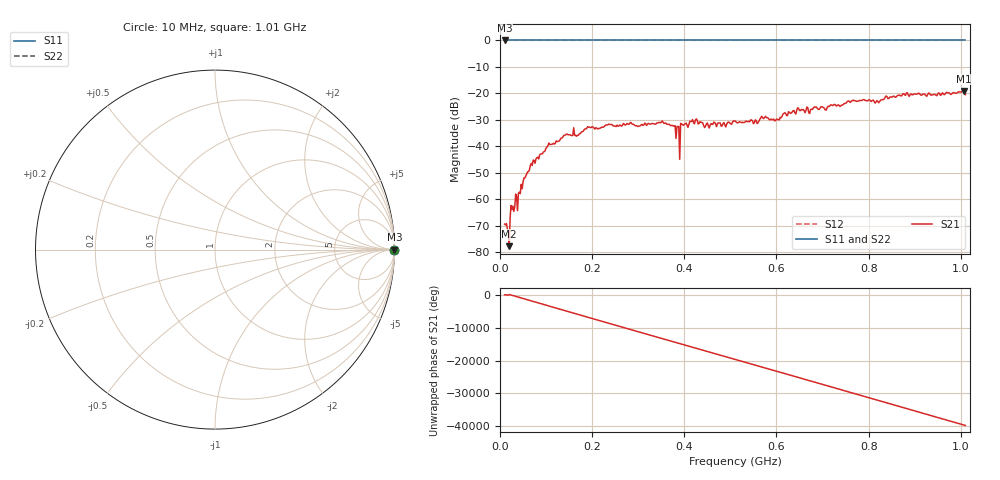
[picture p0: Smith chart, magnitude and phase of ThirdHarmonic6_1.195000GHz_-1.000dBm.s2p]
! 8/16/2025 12:19:37 PM
! C:\ANRITSUVNA\TEMP\TEMP.S2P
! CHANNEL.1
! TR.MEASUREMENT
! RAW.DATA
! RF.CORRECTION.OFF
! AVERAGING.OFF
! IF.BANDWIDTH: 5KHZ
! SWEEPTYPE:  FREQ.SWEEP(Linear)
! Reference Plane Port Info
! PORT:  PORT1  PORT2
! DISTANCE:  0  m  0  m
! TIME:  0  s  0  s
! PHASE.OFFSET:  0  deg.  0  deg.
! LOSS:  0  dB  0  dB
! REF.LOSS:  0  dB  0  dB
! REF.FREQ:  0  Hz  0  Hz
! Power Info
! POWER:  -20  dBm  -20  dBm
! EFF.POWER:  -20  dBm  -20  dBm
! SOURCE.ATTEN:  0  dB  0  dB
! TEST.ATTEN:  0  dB  0  dB
# GHZ S RI R 50.0
! FREQ.GHZ  S11RE  S11IM  S21RE  S21IM  S12RE  S12IM  S22RE  S22IM
!; PortSelection: Port_12
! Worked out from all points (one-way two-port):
!   501 points, 10 MHz to 1.01 GHz, reference 50 ohm
!   highest |S21| = -19.06 dB at 1.006 GHz (marker M1); lowest = -77.7 dB at 20 MHz (marker M2)
!   lowest |S11| = 0.0 dB at 10 MHz (marker M3)
!   |S11| at or under -10 dB: nowhere
!   |S22| runs from 0.0 to 0.0 dB; largest |S21 - S12| = 1.1
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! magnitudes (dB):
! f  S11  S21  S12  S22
! 10 MHz  0.0  -69.4  0.0  0.0
! 16 MHz  0.0  -71.0  0.0  0.0
! 20 MHz  0.0  -77.7  0.0  0.0
! 26 MHz  0.0  -63.9  0.0  0.0
! 70 MHz  0.0  -47.2  0.0  0.0
! 106 MHz  0.0  -38.7  0.0  0.0
! 178 MHz  0.0  -34.4  0.0  0.0
! 234 MHz  0.0  -31.9  0.0  0.0
! 344 MHz  0.0  -31.0  0.0  0.0
! 376 MHz  0.0  -32.3  0.0  0.0
! 384 MHz  0.0  -32.5  0.0  0.0
! 386 MHz  0.0  -32.5  0.0  0.0
! 394 MHz  0.0  -31.5  0.0  0.0
! 396 MHz  0.0  -31.8  0.0  0.0
! 416 MHz  0.0  -30.6  0.0  0.0
! 450 MHz  0.0  -31.2  0.0  0.0
! 510 MHz  0.0  -30.4  0.0  0.0
! 602 MHz  0.0  -29.8  0.0  0.0
! 678 MHz  0.0  -26.1  0.0  0.0
! 844 MHz  0.0  -21.9  0.0  0.0
! 1.006 GHz  0.0  -19.1  0.0  0.0
! 1.01 GHz  0.0  -20.5  0.0  0.0
